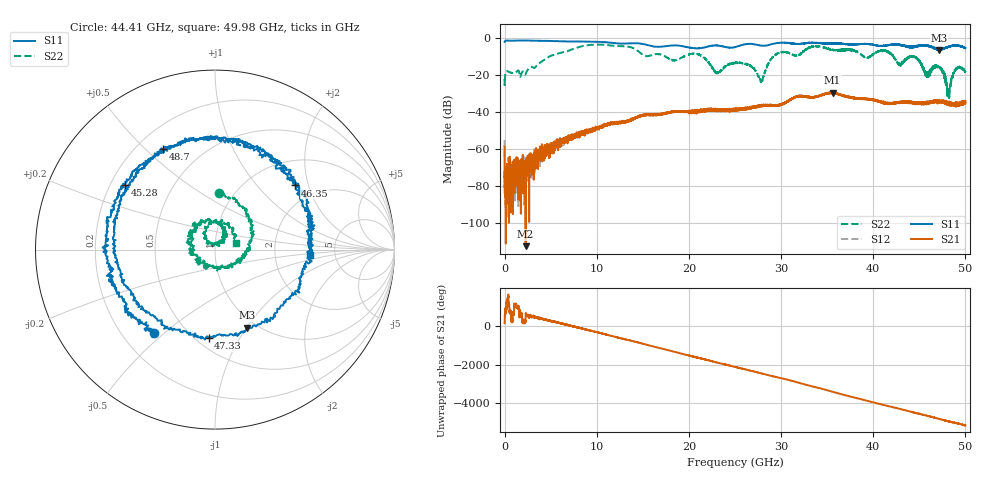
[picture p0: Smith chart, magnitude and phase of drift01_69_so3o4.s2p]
!Created with skrf (http://scikit-rf.org).
# Hz S RI R 50.0
!freq ReS11 ImS11 ReS21 ImS21 ReS12 ImS12 ReS22 ImS22
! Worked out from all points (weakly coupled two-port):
!   10001 points, 300 kHz to 50 GHz, reference 50 ohm
!   highest |S21| = -29.51 dB at 35.59 GHz (marker M1); lowest = -112.7 dB at 2.28 GHz (marker M2)
!   lowest |S11| = -6.6 dB at 47.15 GHz (marker M3), VSWR 2.78, Z = 44.9 - j50.2 ohm
!   |S11| at or under -10 dB: nowhere
!   |S22| runs from -33.6 to -3.6 dB; largest |S21 - S12| = 0.0032
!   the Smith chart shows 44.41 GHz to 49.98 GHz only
!   S11 on the Smith chart (normalised r, x): 44.41 GHz: 0.33, -0.46; 45.28 GHz: 0.26, +0.30; 46.35 GHz: 1.55, +1.65; 47.33 GHz: 0.58, -0.75; 48.7 GHz: 0.31, +0.57; 49.98 GHz: 3.22, -0.27
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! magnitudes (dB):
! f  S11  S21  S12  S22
! 300 kHz  -2.1  -58.7  -55.2  -22.2
! 255.3 MHz  -1.4  -79.5  -78.5  -18.0
! 2.28 GHz  -1.4  -112.7  -71.3  -19.6
! 8.335 GHz  -1.9  -51.3  -51.7  -4.5
! 16.67 GHz  -4.8  -41.6  -41.6  -8.7
! 20.97 GHz  -5.6  -39.2  -39.8  -8.8
! 23.09 GHz  -4.1  -38.9  -38.7  -18.7
! 25 GHz  -5.0  -39.1  -38.8  -13.5
! 27.86 GHz  -4.2  -37.0  -36.7  -23.0
! 29.44 GHz  -2.9  -36.6  -36.2  -9.0
! 33.34 GHz  -2.6  -32.0  -32.0  -4.7
! 35.59 GHz  -3.0  -29.5  -29.9  -6.5
! 41.67 GHz  -3.8  -35.7  -35.2  -7.9
! 44.41 GHz  -4.8  -35.1  -34.9  -10.0
! 45.28 GHz  -4.2  -36.0  -35.8  -14.7
! 46.35 GHz  -4.8  -34.1  -34.9  -16.8
! 47.15 GHz  -6.6  -35.2  -34.4  -16.0
! 47.33 GHz  -6.2  -34.1  -34.3  -16.5
! 48.12 GHz  -4.9  -35.5  -35.1  -29.0
! 48.7 GHz  -4.0  -36.0  -36.1  -19.2
! 49.98 GHz  -5.5  -34.8  -34.7  -18.1
! 50 GHz  -5.4  -34.0  -35.1  -18.0
